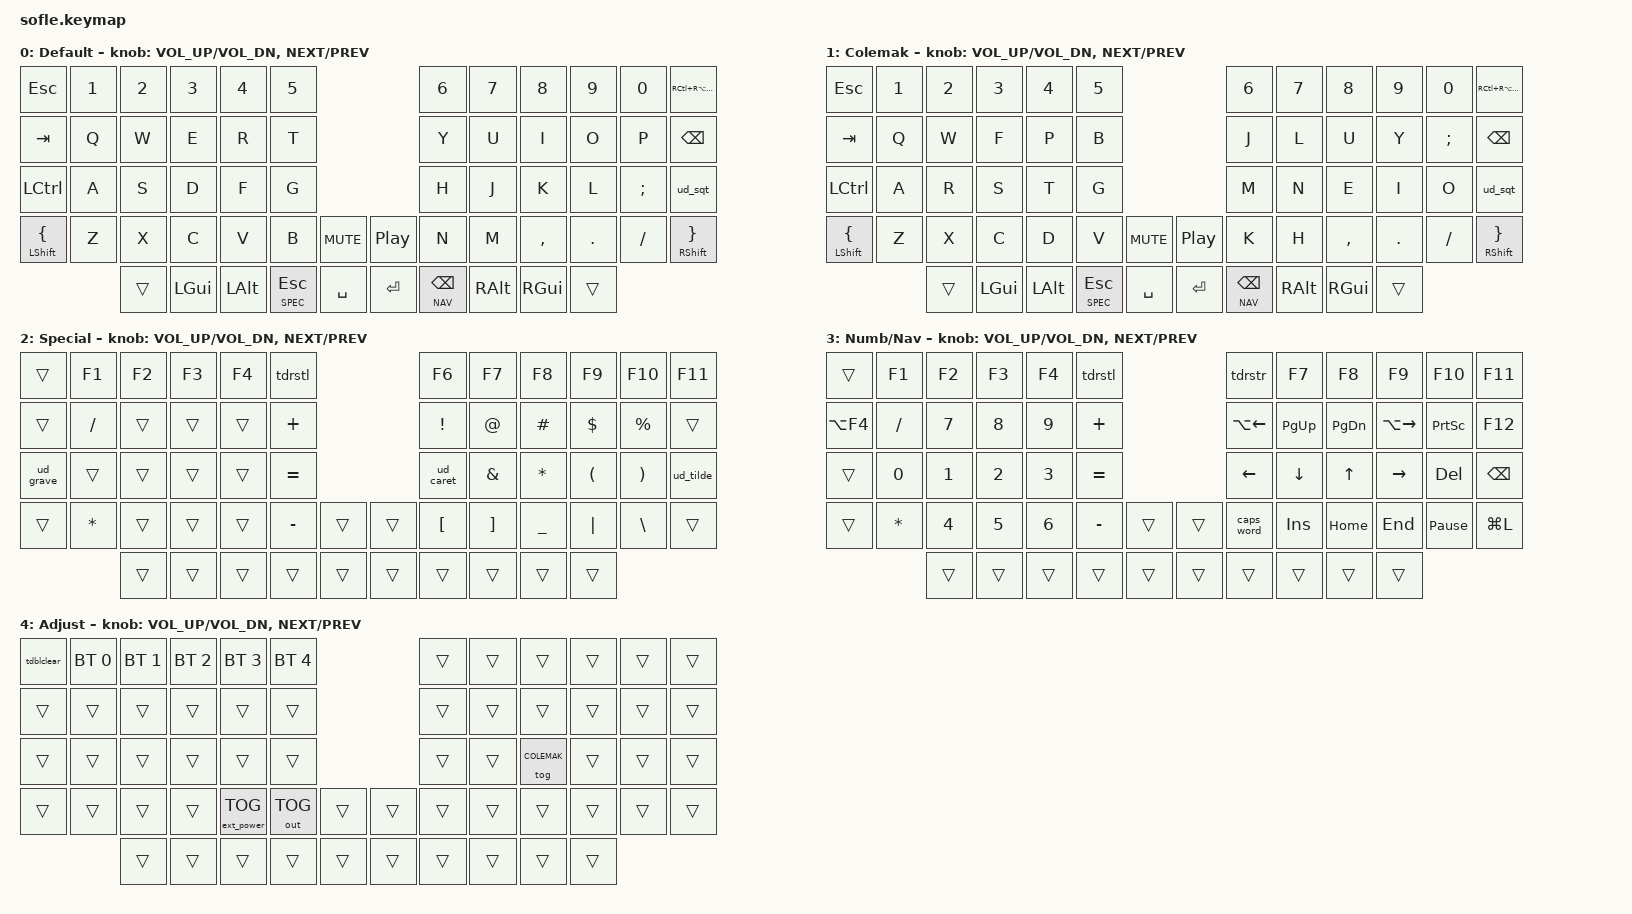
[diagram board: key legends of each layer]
/*
 * Copyright (c) 2020 The ZMK Contributors
 *
 * SPDX-License-Identifier: MIT
 */

#include <behaviors.dtsi>
#include <dt-bindings/zmk/keys.h>
#include <dt-bindings/zmk/bt.h>
#include <dt-bindings/zmk/ext_power.h>
#include <dt-bindings/zmk/outputs.h>

#define DEFAULT 0
#define COLEMAK 1
#define SPEC   2
#define NAV   3
#define ADJUST 4

#define TAPTERM 100

&caps_word {
    continue-list = <UNDERSCORE MINUS LS(MINUS) UP DOWN LEFT RIGHT BSPC DEL>;
};

// encoder resolution
&left_encoder {
    resolution = <4>;
};
&right_encoder {
    resolution = <4>;
};

// faster layertap
&lt {
    quick-tap-ms = <0>;
    tapping-term-ms = <150>; 
};

// faster modtap
&mt {
    tapping-term-ms = <200>;
}; 

/ {
     conditional_layers {
       compatible = "zmk,conditional-layers";
       tri_layer {
         if-layers = <SPEC NAV>;
         then-layer = <ADJUST>; 
       };
    };

    behaviors {
        tdrstl: tdrstl {
            compatible = "zmk,behavior-tap-dance";
            label = "tdrstl";
            #binding-cells = <0>;
            tapping-term-ms = <TAPTERM>;
            bindings = <&kp F5>, <&sys_reset>;
        };
        
        tdblclear: tdblclear {
            compatible = "zmk,behavior-tap-dance";
            label = "tdblclear";
            #binding-cells = <0>;
            tapping-term-ms = <TAPTERM>;
            bindings = <&trans>, <&bt BT_CLR>;
        };
        
        tdrstr: tdrstr {
            compatible = "zmk,behavior-tap-dance";
            label = "tdrstr";
            #binding-cells = <0>;
            tapping-term-ms = <TAPTERM>;
            bindings = <&kp F6>, <&sys_reset>;
        };
        
        tdcaps: tdcaps {
            compatible = "zmk,behavior-tap-dance";
            label = "tdcaps";
            #binding-cells = <0>;
            tapping-term-ms = <TAPTERM>;
            bindings = <&caps_word>, <&kp CAPS>;
        };
        
        tdctrlcap: tdctrlcap {
            compatible = "zmk,behavior-tap-dance";
            label = "tapdance ctrl/capsword";
            #binding-cells = <0>;
            tapping-term-ms = <TAPTERM>;
            bindings = <&kp LCTRL>, <&caps_word>;
        };
    };
    
    macros {
        ud_grave: ud_grave {
            label = "UNDEAD_GRAVE";
            compatible = "zmk,behavior-macro";
            #binding-cells = <0>;
            wait-ms = <10>;
            tap-ms = <10>;
            bindings = <&kp GRAVE &kp SPACE>;
        };
        
        ud_tilde: ud_tilde {
            label = "UNDEAD_TILDE";
            compatible = "zmk,behavior-macro";
            #binding-cells = <0>;
            wait-ms = <10>;
            tap-ms = <10>;
            bindings = <&kp TILDE &kp SPACE>;
        };
        
        ud_sqt: ud_sqt {
            label = "UNDEAD_SINGLE_QUOTE";
            compatible = "zmk,behavior-macro";
            #binding-cells = <0>;
            wait-ms = <10>;
            tap-ms = <10>;
            bindings = <&kp SQT &kp SPACE>;
        };
        
        ud_caret: ud_caret {
            label = "UNDEAD_CARET";
            compatible = "zmk,behavior-macro";
            #binding-cells = <0>;
            wait-ms = <10>;
            tap-ms = <10>;
            bindings = <&kp CARET &kp SPACE>;
        };

        win_left: win_left {
            label = "WINDOWS LEFT";
            compatible = "zmk,behavior-macro";
            #binding-cells = <0>;
            wait-ms = <10>;
            tap-ms = <10>;
            bindings
                = <&macro_press &kp LGUI>
                , <&macro_tap &kp LEFT>
                , <&macro_release &kp LGUI>;   
        };
        
        win_right: win_right {
            label = "WINDOWS RIGHT";
            compatible = "zmk,behavior-macro";
            #binding-cells = <0>;
            wait-ms = <10>;
            tap-ms = <10>;
            bindings
                = <&macro_press &kp LGUI>
                , <&macro_tap &kp RIGHT>
                , <&macro_release &kp LGUI>;   
        };
        
        win_up: win_up {
            label = "WINDOWS UP";
            compatible = "zmk,behavior-macro";
            #binding-cells = <0>;
            wait-ms = <10>;
            tap-ms = <10>;
            bindings
                = <&macro_press &kp LGUI>
                , <&macro_tap &kp UP>
                , <&macro_release &kp LGUI>;   
        };

    };
    
    keymap {
        compatible = "zmk,keymap";

        default_layer {
            label = "Default";

            bindings = <
            // _______________________________________________________________________________                                    ______________________________________________________________________________
            // | ESC           | 1         | 2         | 3         | 4          | 5          |                                    | 6         | 7         | 8          | 9         | 0         | MAGIC         |
                 &kp ESC         &kp N1      &kp N2      &kp N3      &kp N4       &kp N5                                            &kp N6      &kp N7      &kp N8       &kp N9      &kp N0      &kp RC(RA(F13))
            // _______________________________________________________________________________                                    ______________________________________________________________________________
            // | TAB           | Q         | W         | E         | R          | T          |                                    | Y         | U         | I          | O         | P         | BKSPC         |
                 &kp TAB         &kp Q       &kp W       &kp E       &kp R        &kp T                                             &kp Y       &kp U       &kp I        &kp O       &kp P       &kp BSPC
            // _______________________________________________________________________________                                    ______________________________________________________________________________
            // | LCTRL         | A         | S         | D         | F          | G          |                                    | H         | J         | K          | L         | ;         | '             |
                 &kp LCTRL         &kp A       &kp S       &kp D       &kp F        &kp G                                             &kp H       &kp J       &kp K        &kp L       &kp SEMI    &ud_sqt
            // _______________________________________________________________________________________________    ______________________________________________________________________________________________
            // | SHIFT / {     | Z         | X         | C         | V          | B          | MUTE          |    | PLAY/PAUSE    | N         | M         | ,          | .         | /         | SHIFT / }     |
                 &mt LSHFT LBRC  &kp Z       &kp X       &kp C       &kp V        &kp B        &kp C_MUTE           &kp C_PP        &kp N       &kp M       &kp COMMA    &kp DOT     &kp FSLH    &mt RSHFT RBRC
            // _______________________________________________________________________________________________    ______________________________________________________________________________________________
            //                             |           | GUI        | ALT       | SPECIAL    | SPACE         |    | RETURN        | NAV       | ALT       | GUI        |           |
                                             &trans      &kp LGUI     &kp LALT    &lt SPEC ESC &kp SPACE            &kp RET       &lt NAV BSPC  &kp RALT    &kp RGUI     &trans
            //                             ___________________________________________________________________    __________________________________________________________________
            >;

            sensor-bindings = <&inc_dec_kp C_VOL_UP C_VOL_DN &inc_dec_kp C_NEXT C_PREV>;
        };
        
        colemak_layer {
            label = "Colemak";

            bindings = <
            // _______________________________________________________________________________                                    ______________________________________________________________________________
            // | ESC           | 1         | 2         | 3         | 4          | 5          |                                    | 6         | 7         | 8          | 9         | 0         | MAGIC         |
                 &kp ESC         &kp N1      &kp N2      &kp N3      &kp N4       &kp N5                                            &kp N6      &kp N7      &kp N8       &kp N9      &kp N0      &kp RC(RA(F13))
            // _______________________________________________________________________________                                    ______________________________________________________________________________
            // | TAB           | Q         | W         | F         | P          | B          |                                    | J         | L         | U          | Y         | ;         | BKSPC         |
                 &kp TAB         &kp Q       &kp W       &kp F       &kp P        &kp B                                             &kp J       &kp L       &kp U        &kp Y       &kp SEMI    &kp BSPC
            // _______________________________________________________________________________                                    ______________________________________________________________________________
            // | LCTRL         | A         | R         | S         | T          | G          |                                    | M         | N         | E          | I         | O         | '             |
                 &kp LCTRL       &kp A       &kp R       &kp S       &kp T        &kp G                                             &kp M       &kp N       &kp E        &kp I       &kp O       &ud_sqt
            // _______________________________________________________________________________________________    ______________________________________________________________________________________________
            // | SHIFT / {     | Z         | X         | C         | D          | V          | MUTE          |    | PLAY/PAUSE    | K         | H         | ,          | .         | /         | SHIFT / }     |
                 &mt LSHFT LBRC  &kp Z       &kp X       &kp C       &kp D        &kp V        &kp C_MUTE           &kp C_PP        &kp K       &kp H       &kp COMMA    &kp DOT     &kp FSLH    &mt RSHFT RBRC
            // _______________________________________________________________________________________________    ______________________________________________________________________________________________
            //                             |           | GUI        | ALT       | SPECIAL    | SPACE         |    | RETURN        | NAV       | ALT       | GUI        |           |
                                             &trans      &kp LGUI     &kp LALT    &lt SPEC ESC &kp SPACE            &kp RET       &lt NAV BSPC  &kp RALT    &kp RGUI     &trans
            //                             ___________________________________________________________________    __________________________________________________________________
            >;

            sensor-bindings = <&inc_dec_kp C_VOL_UP C_VOL_DN &inc_dec_kp C_NEXT C_PREV>;
        };

        special_layer {
            label = "Special";

            bindings = <
            // _______________________________________________________________________________                                    ______________________________________________________________________________
            // |               | F1        | F2        | F3        | F4         | F5 / reset |                                    | F6        | F7        | F8         | F9        | F10       | F11           |
                 &trans          &kp F1      &kp F2      &kp F3      &kp F4       &tdrstl                                           &kp F6      &kp F7      &kp F8       &kp F9      &kp F10     &kp F11
            // _______________________________________________________________________________                                    ______________________________________________________________________________
            // |               | /         |           |           |            | +          |                                    | !         | @         | #          | $         | %         |               |
                 &trans          &kp SLASH   &trans      &trans      &trans       &kp PLUS                                          &kp EXCL    &kp AT      &kp HASH     &kp DOLLAR  &kp PRCNT  &trans
            // _______________________________________________________________________________                                    ______________________________________________________________________________
            // | `             |           |           |           |            | =          |                                    | ^         | &         | *          | (         | )         | ~             |
                 &ud_grave       &trans      &trans      &trans      &trans       &kp EQUAL                                         &ud_caret   &kp AMPS    &kp STAR     &kp LPAR    &kp RPAR    &ud_tilde
            // _______________________________________________________________________________________________    ______________________________________________________________________________________________
            // | SHIFT         | *         |           |           |            | -          |               |    |               | [         | ]         | _          | |        | \          |               |
                 &trans          &kp STAR   &trans       &trans      &trans       &kp MINUS    &trans               &trans          &kp LBKT    &kp RBKT    &kp UNDER    &kp PIPE    &kp BSLH    &trans
            // _______________________________________________________________________________________________    ______________________________________________________________________________________________
            //                             |           |            |           |            |               |    |               |           |           |            |           |
                                             &trans      &trans       &trans      &trans       &trans               &trans          &trans      &trans      &trans       &trans
            //                             ___________________________________________________________________    __________________________________________________________________
            >;

            sensor-bindings = <&inc_dec_kp C_VOL_UP C_VOL_DN &inc_dec_kp C_NEXT C_PREV>;
        };

        nav_layer {
            label = "Numb/Nav";

            bindings = <
            // _______________________________________________________________________________                                    ______________________________________________________________________________
            // |               |           |           |           |            |            |                                    | / reset   |           |            |           |          |                |
                 &trans          &kp F1      &kp F2      &kp F3      &kp F4       &tdrstl                                           &tdrstr      &kp F7      &kp F8       &kp F9      &kp F10     &kp F11
            // _______________________________________________________________________________                                    ______________________________________________________________________________
            // | ALT+F4        | /         | 7         | 8         | 9          | +          |                                    | LA(LEFT)  | PG UP  |  PG DOWN      | LA(RIGHT) | PRINT   |                |
                 &kp LA(F4)      &kp SLASH   &kp N7      &kp N8      &kp N9       &kp PLUS                                         &kp LA(LEFT) &kp PG_UP &kp PG_DN    &kp LA(RIGHT) &kp PSCRN  &kp F12
            // _______________________________________________________________________________                                    ______________________________________________________________________________
            // |               | 0         | 1         | 2         | 3          | =          |                                    | LEFT      | DOWN      | UP         | RIGHT     | DEL      |  BACKSPACE     |
                 &trans          &kp N0      &kp N1      &kp N2      &kp N3       &kp EQUAL                                         &kp LEFT    &kp DOWN    &kp UP       &kp RIGHT   &kp DEL     &kp BSPC
            // _______________________________________________________________________________________________    ______________________________________________________________________________________________
            // |               | *         | 4         | 5         | 6          | -          |               |    |               | caps      | INSERT    | HOME       | END       | PAUSE    |  WIN+L         |
                 &trans          &kp STAR    &kp N4      &kp N5      &kp N6       &kp MINUS    &trans               &trans          &caps_word &kp INSERT  &kp HOME    &kp END    &kp PAUSE_BREAK &kp LG(L)
            // _______________________________________________________________________________________________    ______________________________________________________________________________________________
            //                             |           |           |            |            |               |    |               |           |           |            |           |
                                             &trans      &trans      &trans        &trans       &trans               &trans          &trans      &trans      &trans       &trans
            //                             ___________________________________________________________________    __________________________________________________________________
            >;

            sensor-bindings = <&inc_dec_kp C_VOL_UP C_VOL_DN &inc_dec_kp C_NEXT C_PREV>;
        };

        adjust_layer {
            label = "Adjust";

            bindings = <
            // _______________________________________________________________________________                                    ______________________________________________________________________________
            // | BLT Clear     | BLT0      | BLT1      | BLT2      | BLT3       | BLT4       |                                    |           |           |            |           |          |                |
                 &tdblclear      &bt BT_SEL 0  &bt BT_SEL 1  &bt BT_SEL 2  &bt BT_SEL 3  &bt BT_SEL 4                               &trans      &trans      &trans       &trans      &trans     &trans
            // |               |           |           |           |            |            |                                    |           |           |            |           |          |                |
                 &trans          &trans      &trans      &trans      &trans       &trans                                            &trans      &trans      &trans       &trans      &trans     &trans
            // _______________________________________________________________________________                                    ______________________________________________________________________________
            // |               |           |           |           |            |            |                                    |           |           |            |           |          |                |
                 &trans          &trans      &trans      &trans      &trans       &trans                                            &trans      &trans      &tog COLEMAK &trans      &trans     &trans
            // _______________________________________________________________________________________________    ______________________________________________________________________________________________
            // |               |           |           |           | VCC        | BLT/CABLE  |               |    |               |           |           |            |           |          |                |
                 &trans          &trans      &trans      &trans      &ext_power EP_TOG &out OUT_TOG  &trans         &trans          &trans      &trans      &trans       &trans      &trans     &trans
            // _______________________________________________________________________________________________    ______________________________________________________________________________________________
            //                             |           |            |           |            |               |    |               |           |           |            |           |
                                             &trans      &trans       &trans      &trans       &trans               &trans          &trans      &trans      &trans       &trans
            //                             ___________________________________________________________________    __________________________________________________________________
            >;

            sensor-bindings = <&inc_dec_kp C_VOL_UP C_VOL_DN &inc_dec_kp C_NEXT C_PREV>;
        };


    };
};
